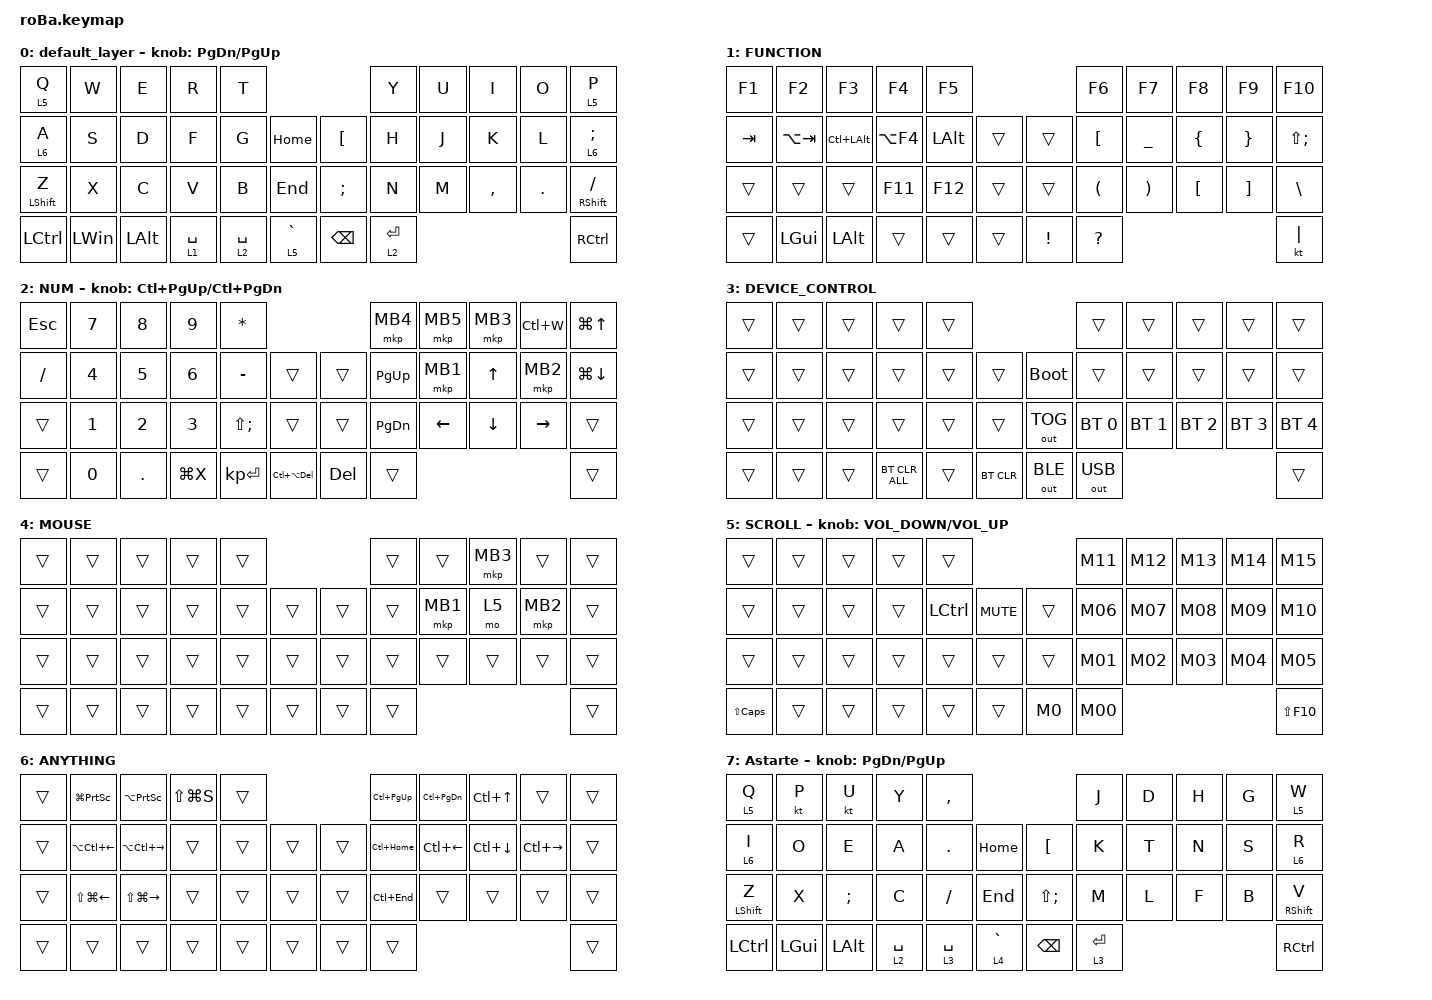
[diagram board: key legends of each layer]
#include <behaviors.dtsi>
#include <dt-bindings/zmk/bt.h>
#include <dt-bindings/zmk/keys.h>
#include <dt-bindings/zmk/keys.h>
#include <dt-bindings/zmk/mouse.h>
#include <dt-bindings/zmk/outputs.h>

#define MOUSE 4
#define SCROLL 5
#define NUM 6

&mt {
    flavor = "balanced";
    quick-tap-ms = <0>;
};

/ {
    combos {
        compatible = "zmk,combos";

        Copy {
            bindings = <&kp LC(C)>;
            key-positions = <30 31>;
        };

        Paste {
            bindings = <&kp LC(V)>;
            key-positions = <31 32>;
        };

        Cut {
            bindings = <&kp LC(X)>;
            key-positions = <30 32>;
        };

        Save {
            bindings = <&kp LC(S)>;
            key-positions = <11 12>;
        };

        Find {
            bindings = <&kp LC(F)>;
            key-positions = <12 13>;
        };

        Return {
            bindings = <&kp LC(Z)>;
            key-positions = <23 24>;
        };

        Advance {
            bindings = <&kp LC(Y)>;
            key-positions = <24 25>;
        };

        Tilde {
            bindings = <&kp TILDE>;
            key-positions = <6 7>;
        };

        Minus {
            bindings = <&kp MINUS>;
            key-positions = <7 8>;
        };

        Explorer {
            bindings = <&kp LG(E)>;
            key-positions = <2 13>;
        };

        Esc {
            bindings = <&kp ESCAPE>;
            key-positions = <11 13>;
        };

        Tog_Qwerty {
            bindings = <&tog 0>;
            key-positions = <34 42>;
        };
    };

    macros {
        to_layer_0: to_layer_0 {
            compatible = "zmk,behavior-macro-one-param";
            #binding-cells = <1>;
            bindings = <&to 0 &macro_param_1to1 &kp MACRO_PLACEHOLDER>;
            label = "TO_LAYER_0";
        };

        M0: M0 {
            compatible = "zmk,behavior-macro";
            #binding-cells = <0>;
            bindings = <&kp Z &kp A &kp I &kp T &kp A &kp K &kp U &kp MINUS &kp U &kp S &kp E &kp R &kp TAB &kp LS(A) &kp V &kp E &kp N &kp G &kp E &kp D &kp N1 &kp LS(F) &kp O &kp L &kp D &kp ENTER>;
            label = "M0";
        };

        M00: M00 {
            compatible = "zmk,behavior-macro";
            #binding-cells = <0>;
            bindings = <&kp J &kp MINUS &kp H &kp O &kp S &kp H &kp I &kp N &kp O &kp TAB &kp LS(A) &kp V &kp E &kp N &kp G &kp E &kp D &kp N2 &kp N6 &kp LS(F) &kp O &kp L &kp D &kp ENTER>;
            label = "M00";
        };

        M01: M01 {
            compatible = "zmk,behavior-macro";
            #binding-cells = <0>;
            bindings = <&kp LS(A) &kp V &kp E &kp N &kp G &kp E &kp D &kp N4 &kp N0 &kp LS(F) &kp O &kp L &kp D &kp ENTER>;
            label = "M01";
        };

        M02: M02 {
            compatible = "zmk,behavior-macro";
            #binding-cells = <0>;
            bindings = <&kp LS(A) &kp V &kp E &kp N &kp G &kp E &kp D &kp N8 &kp N9 &kp LS(F) &kp O &kp L &kp D &kp ENTER>;
            label = "M02";
        };

        M03: M03 {
            compatible = "zmk,behavior-macro";
            #binding-cells = <0>;
            bindings = <&kp LS(A) &kp V &kp E &kp N &kp G &kp E &kp D &kp N1 &kp LS(F) &kp O &kp L &kp D &kp ENTER>;
            label = "M03";
        };

        M04: M04 {
            compatible = "zmk,behavior-macro";
            #binding-cells = <0>;
            bindings = <&kp LS(A) &kp V &kp E &kp N &kp G &kp E &kp D &kp N2 &kp LS(F) &kp O &kp L &kp D &kp ENTER>;
            label = "M04";
        };

        M05: M05 {
            compatible = "zmk,behavior-macro";
            #binding-cells = <0>;
            bindings = <&none>;
            label = "M05";
        };

        M06: M06 {
            compatible = "zmk,behavior-macro";
            #binding-cells = <0>;
            bindings = <&kp LS(K) &kp LS(D) &kp E &kp V &kp AT &kp N2 &kp N3 &kp N1 &kp N0 &kp ENTER>;
            label = "M06";
        };

        M07: M07 {
            compatible = "zmk,behavior-macro";
            #binding-cells = <0>;
            bindings = <&kp LS(M) &kp C &kp O &kp N2 &kp N0 &kp N2 &kp N3 &kp N1 &kp N0 &kp EXCL &kp ENTER>;
            label = "M07";
        };

        M08: M08 {
            compatible = "zmk,behavior-macro";
            #binding-cells = <0>;
            bindings = <&kp LS(D) &kp T &kp C &kp N2 &kp K &kp A &kp N &kp P &kp O &kp UNDER &kp N2 &kp N0 &kp N2 &kp N4 &kp UNDER &kp EXCL &kp POUND &kp ENTER>;
            label = "M08";
        };

        M09: M09 {
            compatible = "zmk,behavior-macro";
            #binding-cells = <0>;
            bindings = <&none>;
            label = "M09";
        };

        M10: M10 {
            compatible = "zmk,behavior-macro";
            #binding-cells = <0>;
            bindings = <&kp LS(K) &kp A &kp M &kp P &kp O &kp S &kp O &kp L &kp N2 &kp N0 &kp N1 &kp N7 &kp ENTER>;
            label = "M10";
        };

        M11: M11 {
            compatible = "zmk,behavior-macro";
            #binding-cells = <0>;
            bindings = <&none>;
            label = "M11";
        };

        M12: M12 {
            compatible = "zmk,behavior-macro";
            #binding-cells = <0>;
            bindings = <&none>;
            label = "M12";
        };

        M13: M13 {
            compatible = "zmk,behavior-macro";
            #binding-cells = <0>;
            bindings = <&none>;
            label = "M13";
        };

        M14: M14 {
            compatible = "zmk,behavior-macro";
            #binding-cells = <0>;
            bindings = <&none>;
            label = "M14";
        };

        M15: M15 {
            compatible = "zmk,behavior-macro";
            #binding-cells = <0>;
            bindings = <&none>;
            label = "M15";
        };
    };

    behaviors {
        lt_to_layer_0: lt_to_layer_0 {
            compatible = "zmk,behavior-hold-tap";
            label = "LAYER_TAP_TO_0";
            bindings = <&mo>, <&to_layer_0>;

            #binding-cells = <2>;
            tapping-term-ms = <200>;
        };
    };

    keymap {
        compatible = "zmk,keymap";

        default_layer {
            bindings = <
&lt 5 Q           &kp W         &kp E         &kp R        &kp T                                         &kp Y        &kp U  &kp I      &kp O    &lt 5 P
&lt 6 A           &kp S         &kp D         &kp F        &kp G        &kp HOME       &kp LEFT_BRACKET  &kp H        &kp J  &kp K      &kp L    &lt 6 SEMICOLON
&mt LEFT_SHIFT Z  &kp X         &kp C         &kp V        &kp B        &kp END        &kp SEMICOLON     &kp N        &kp M  &kp COMMA  &kp DOT  &mt RIGHT_SHIFT SLASH
&kp LCTRL         &kp LEFT_WIN  &kp LEFT_ALT  &lt 1 SPACE  &lt 2 SPACE  &lt 5 GRAVE    &kp BACKSPACE     &lt 2 ENTER                             &kp RCTRL
            >;

            sensor-bindings = <&inc_dec_kp PAGE_DOWN PAGE_UP>;
        };

        FUNCTION {
            bindings = <
&kp F1   &kp F2        &kp F3            &kp F4      &kp F5                                   &kp F6                &kp F7                 &kp F8            &kp F9             &kp F10
&kp TAB  &kp LA(TAB)   &kp LC(LEFT_ALT)  &kp LA(F4)  &kp LEFT_ALT  &trans    &trans           &kp LEFT_BRACKET      &kp UNDERSCORE         &kp LEFT_BRACE    &kp RIGHT_BRACE    &kp LS(SEMICOLON)
&trans   &trans        &trans            &kp F11     &kp F12       &trans    &trans           &kp LEFT_PARENTHESIS  &kp RIGHT_PARENTHESIS  &kp LEFT_BRACKET  &kp RIGHT_BRACKET  &kp BACKSLASH
&trans   &kp LEFT_GUI  &kp LEFT_ALT      &trans      &trans        &trans    &kp EXCLAMATION  &kp QUESTION                                                                      &kt PIPE
            >;
        };

        NUM {
            bindings = <
&kp ESCAPE  &kp NUMBER_7  &kp NUMBER_8  &kp NUMBER_9  &kp ASTERISK                                         &mkp MB4       &mkp MB5        &mkp MB3        &kp LC(W)        &kp LG(UP_ARROW)
&kp SLASH   &kp NUMBER_4  &kp NUMBER_5  &kp NUMBER_6  &kp MINUS          &trans                &trans      &kp PAGE_UP    &mkp MB1        &kp UP_ARROW    &mkp MB2         &kp LG(DOWN_ARROW)
&trans      &kp NUMBER_1  &kp NUMBER_2  &kp NUMBER_3  &kp LS(SEMICOLON)  &trans                &trans      &kp PAGE_DOWN  &kp LEFT_ARROW  &kp DOWN_ARROW  &kp RIGHT_ARROW  &trans
&trans      &kp NUMBER_0  &kp DOT       &kp LG(X)     &kp KP_ENTER       &kp LC(LA(DELETE))    &kp DELETE  &trans                                                          &trans
            >;

            sensor-bindings = <&inc_dec_kp LC(PAGE_UP) LC(PAGE_DOWN)>;
        };

        DEVICE_CONTROL {
            bindings = <
&trans  &trans  &trans  &trans          &trans                              &trans        &trans        &trans        &trans        &trans
&trans  &trans  &trans  &trans          &trans  &trans        &bootloader   &trans        &trans        &trans        &trans        &trans
&trans  &trans  &trans  &trans          &trans  &trans        &out OUT_TOG  &bt BT_SEL 0  &bt BT_SEL 1  &bt BT_SEL 2  &bt BT_SEL 3  &bt BT_SEL 4
&trans  &trans  &trans  &bt BT_CLR_ALL  &trans  &bt BT_CLR    &out OUT_BLE  &out OUT_USB                                            &trans
            >;
        };

        MOUSE {
            bindings = <
&trans  &trans  &trans  &trans  &trans                    &trans  &trans    &mkp MB3  &trans    &trans
&trans  &trans  &trans  &trans  &trans  &trans    &trans  &trans  &mkp MB1  &mo 5     &mkp MB2  &trans
&trans  &trans  &trans  &trans  &trans  &trans    &trans  &trans  &trans    &trans    &trans    &trans
&trans  &trans  &trans  &trans  &trans  &trans    &trans  &trans                                &trans
            >;
        };

        SCROLL {
            bindings = <
&trans            &trans  &trans  &trans  &trans                           &M11  &M12  &M13  &M14  &M15
&trans            &trans  &trans  &trans  &kp LCTRL  &kp K_MUTE    &trans  &M06  &M07  &M08  &M09  &M10
&trans            &trans  &trans  &trans  &trans     &trans        &trans  &M01  &M02  &M03  &M04  &M05
&kp LS(CAPSLOCK)  &trans  &trans  &trans  &trans     &trans        &M0     &M00                    &kp LS(F10)
            >;

            sensor-bindings = <&inc_dec_kp C_VOLUME_DOWN C_VOLUME_UP>;
        };

        ANYTHING {
            bindings = <
&trans  &kp LG(PRINTSCREEN)     &kp LA(PRINTSCREEN)      &kp LS(LG(S))  &trans                    &kp LC(PAGE_UP)  &kp LC(PAGE_DOWN)   &kp LC(UP_ARROW)    &trans               &trans
&trans  &kp LA(LC(LEFT_ARROW))  &kp LA(LC(RIGHT_ARROW))  &trans         &trans  &trans    &trans  &kp LC(HOME)     &kp LC(LEFT_ARROW)  &kp LC(DOWN_ARROW)  &kp LC(RIGHT_ARROW)  &trans
&trans  &kp LS(LG(LEFT_ARROW))  &kp LS(LG(RIGHT_ARROW))  &trans         &trans  &trans    &trans  &kp LC(END)      &trans              &trans              &trans               &trans
&trans  &trans                  &trans                   &trans         &trans  &trans    &trans  &trans                                                                        &trans
            >;
        };

        Astarte {
            bindings = <
&lt 5 Q           &kt P         &kt U          &kp Y        &kp COMMA                                      &kp J        &kp D  &kp H  &kp G  &lt 5 W
&lt 6 I           &kp O         &kp E          &kp A        &kp PERIOD   &kp HOME       &kp LEFT_BRACKET   &kp K        &kp T  &kp N  &kp S  &lt 6 R
&mt LEFT_SHIFT Z  &kp X         &kp SEMICOLON  &kp C        &kp SLASH    &kp END        &kp LS(SEMICOLON)  &kp M        &kp L  &kp F  &kp B  &mt RIGHT_SHIFT V
&kp LCTRL         &kp LEFT_GUI  &kp LEFT_ALT   &lt 2 SPACE  &lt 3 SPACE  &lt 4 GRAVE    &kp BACKSPACE      &lt 3 ENTER                       &kp RCTRL
            >;

            sensor-bindings = <&inc_dec_kp PAGE_DOWN PAGE_UP>;
        };
    };
};
